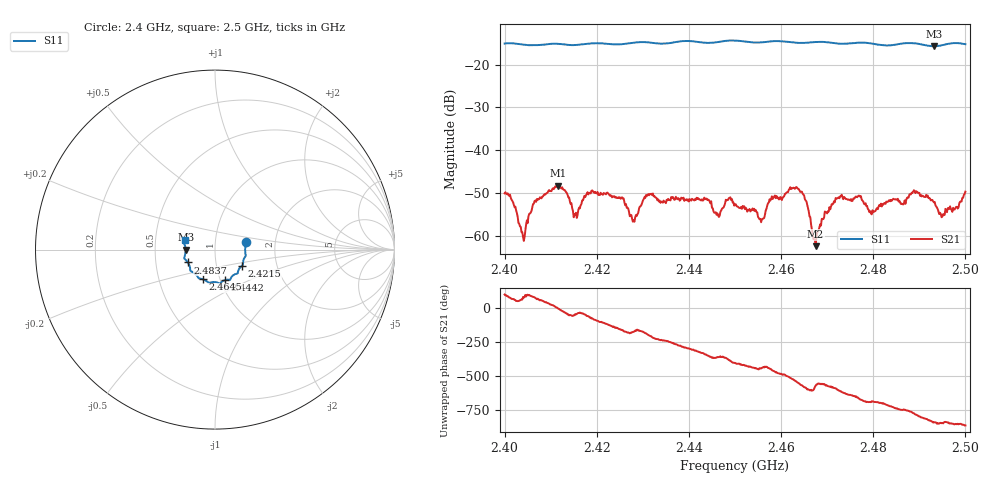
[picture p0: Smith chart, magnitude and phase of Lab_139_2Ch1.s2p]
# Hz S RI R 50
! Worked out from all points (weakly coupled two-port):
!   601 points, 2.4 GHz to 2.5 GHz, reference 50 ohm
!   highest |S21| = -48.21 dB at 2.4117 GHz (marker M1); lowest = -62.3 dB at 2.4675 GHz (marker M2)
!   lowest |S11| = -15.7 dB at 2.4932 GHz (marker M3), VSWR 1.39, Z = 36 - j0.042 ohm
!   |S11| at or under -10 dB: start of sweep to end of sweep
!   S12 and S22 are empty: the file has one direction only
!   S11 on the Smith chart (normalised r, x): 2.4 GHz: 1.41, +0.12; 2.4215 GHz: 1.33, -0.25; 2.4442 GHz: 1.05, -0.37; 2.4645 GHz: 0.83, -0.29; 2.4837 GHz: 0.73, -0.11; 2.5 GHz: 0.71, +0.07
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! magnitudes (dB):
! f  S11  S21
! 2.4 GHz  -15.1  -50.0
! 2.404 GHz  -15.4  -60.2
! 2.4067 GHz  -15.5  -51.7
! 2.4117 GHz  -15.2  -48.2
! 2.4153 GHz  -15.4  -55.0
! 2.4167 GHz  -15.3  -52.5
! 2.4215 GHz  -15.1  -49.9
! 2.4278 GHz  -14.9  -56.6
! 2.4333 GHz  -15.1  -51.4
! 2.4442 GHz  -15.0  -51.5
! 2.45 GHz  -14.4  -52.6
! 2.4558 GHz  -14.8  -56.1
! 2.4582 GHz  -14.6  -51.3
! 2.4645 GHz  -15.0  -49.6
! 2.4667 GHz  -14.8  -58.3
! 2.4675 GHz  -14.7  -62.3
! 2.4727 GHz  -15.1  -51.2
! 2.4833 GHz  -15.6  -51.8
! 2.4837 GHz  -15.5  -51.9
! 2.4932 GHz  -15.7  -52.1
! 2.495 GHz  -15.5  -55.4
! 2.5 GHz  -15.3  -49.6
